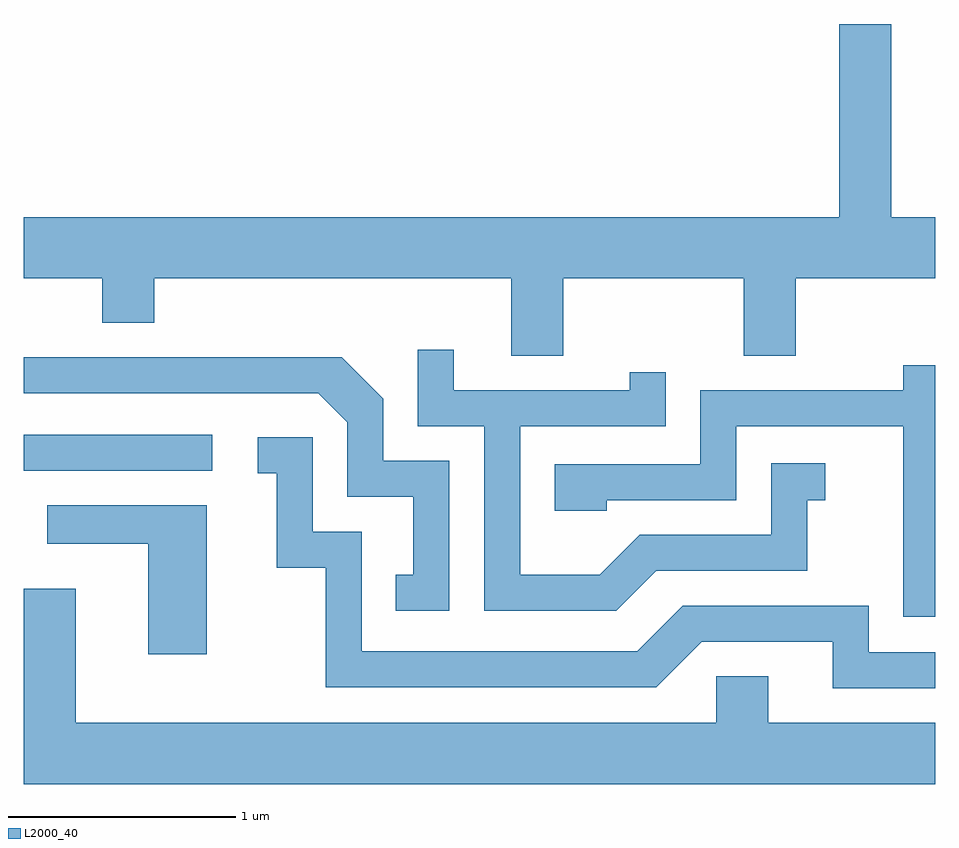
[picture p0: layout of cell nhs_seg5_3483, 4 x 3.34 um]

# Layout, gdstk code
import gdstk
lib = gdstk.Library(unit=1e-6, precision=1e-09)
def R(c, l, rs):  # rectangles x0, y0, x1, y1
    for r in rs: c.add(gdstk.rectangle(r[:2], r[2:], *l))
def P(c, l, *ps):  # polygons
    for p in ps: c.add(gdstk.Polygon(p, *l))
L2000_40 = (2000, 40)

nhs_seg5_3483 = lib.new_cell('nhs_seg5_3483')
R(nhs_seg5_3483, L2000_40, [(287.611,1518.111,288.438,1518.269)])
P(nhs_seg5_3483, L2000_40, [(289.979,1518.956),(290.771,1518.956),(290.771,1518.616),(290.999,1518.616),(290.999,1518.956),(291.611,1518.956),(291.611,1519.224),(291.419,1519.224),(291.419,1520.072),(291.191,1520.072),(291.191,1519.224),(287.611,1519.224),(287.611,1518.956),(287.956,1518.956),(287.956,1518.761),(288.184,1518.761),(288.184,1518.956),(289.751,1518.956),(289.751,1518.616),(289.979,1518.616)],
  [(290.387,1517.671),(291.049,1517.671),(291.049,1517.981),(291.128,1517.981),(291.128,1518.144),(290.891,1518.144),(290.891,1517.829),(290.314,1517.829),(290.139,1517.654),(289.789,1517.654),(289.789,1518.306),(290.429,1518.306),(290.429,1518.543),(290.271,1518.543),(290.271,1518.464),(289.499,1518.464),(289.499,1518.643),(289.341,1518.643),(289.341,1518.306),(289.631,1518.306),(289.631,1517.496),(290.212,1517.496)],
  [(289.479,1518.154),(289.189,1518.154),(289.189,1518.427),(289.007,1518.609),(287.611,1518.609),(287.611,1518.451),(288.904,1518.451),(289.031,1518.324),(289.031,1517.996),(289.321,1517.996),(289.321,1517.654),(289.243,1517.654),(289.243,1517.496),(289.479,1517.496)],
  [(291.611,1518.574),(291.471,1518.574),(291.471,1518.464),(290.581,1518.464),(290.581,1518.139),(289.941,1518.139),(289.941,1517.936),(290.169,1517.936),(290.169,1517.981),(290.739,1517.981),(290.739,1518.306),(291.471,1518.306),(291.471,1517.471),(291.611,1517.471)],
  [(291.611,1517.314),(291.319,1517.314),(291.319,1517.519),(290.504,1517.519),(290.304,1517.319),(289.094,1517.319),(289.094,1517.844),(288.879,1517.844),(288.879,1518.259),(288.638,1518.259),(288.638,1518.101),(288.721,1518.101),(288.721,1517.686),(288.936,1517.686),(288.936,1517.161),(290.387,1517.161),(290.587,1517.361),(291.161,1517.361),(291.161,1517.156),(291.611,1517.156)],
  [(288.414,1517.959),(287.713,1517.959),(287.713,1517.791),(288.156,1517.791),(288.156,1517.306),(288.414,1517.306)],
  [(291.611,1517.004),(290.879,1517.004),(290.879,1517.209),(290.651,1517.209),(290.651,1517.004),(287.839,1517.004),(287.839,1517.594),(287.611,1517.594),(287.611,1516.736),(291.611,1516.736)])

lib.write_gds('nhs_seg5_3483.gds')
